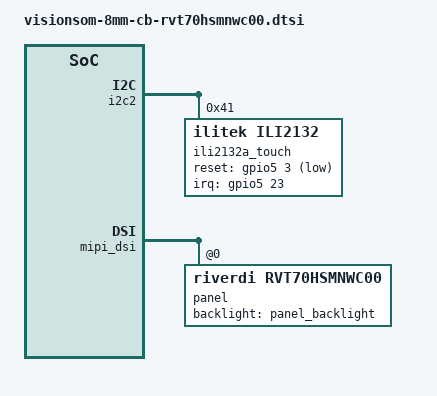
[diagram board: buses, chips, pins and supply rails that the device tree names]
// SPDX-License-Identifier: GPL-2.0-or-later
/*
 * Copyright 2020 SomLabs
 *
 */

#include <dt-bindings/pwm/pwm.h>

&panel_backlight {
    pwms = <&pwm2 0 25000 PWM_POLARITY_INVERTED>;
};

&i2c2 {

    ili2132a_touch: ili2132a@41 {
        compatible = "ilitek,ili2132";
        reg = <0x41>;
        pinctrl-names = "default";
        pinctrl-0 = <&pinctrl_touch>;
        interrupt-parent = <&gpio5>;
        interrupts = <23 IRQ_TYPE_EDGE_FALLING>;
        reset-gpios = <&gpio5 3 GPIO_ACTIVE_LOW>;
    };
};

&mipi_dsi {
    status = "okay";

    panel@0 {
        pinctrl-names = "default";
        compatible = "riverdi,rvt70hsmnwc00";
        reg = <0>;
        backlight = <&panel_backlight>;
        status = "okay";
    };
};
